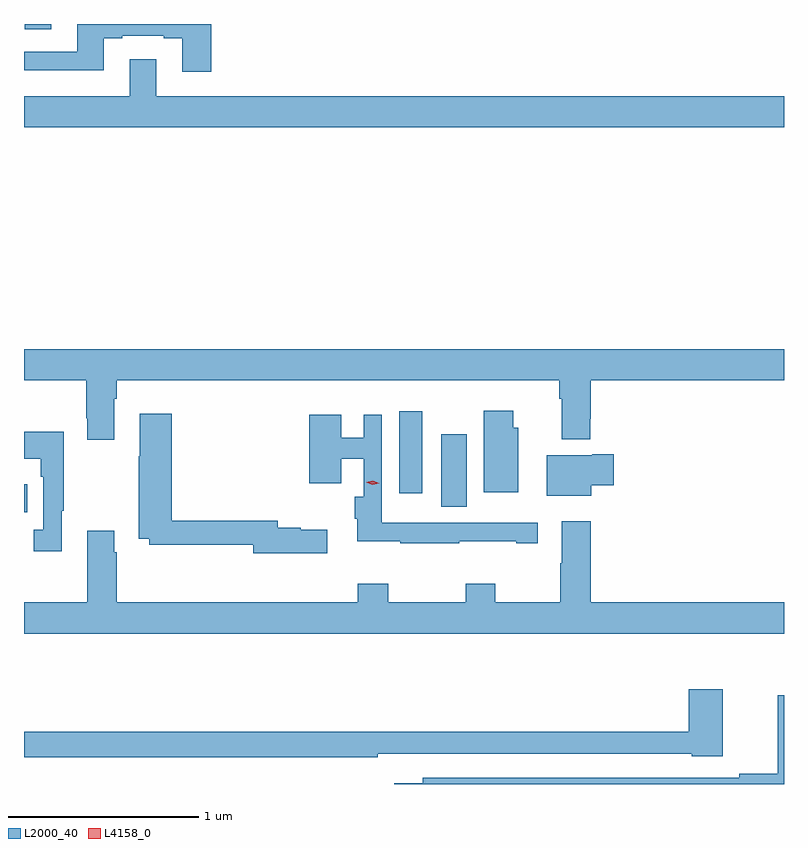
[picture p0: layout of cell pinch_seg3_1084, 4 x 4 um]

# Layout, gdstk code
import gdstk
lib = gdstk.Library(unit=1e-6, precision=1e-09)
def R(c, l, rs):  # rectangles x0, y0, x1, y1
    for r in rs: c.add(gdstk.rectangle(r[:2], r[2:], *l))
def P(c, l, *ps):  # polygons
    for p in ps: c.add(gdstk.Polygon(p, *l))
L2000_40 = (2000, 40)
L4158_0 = (4158, 0)

pinch_seg3_1084 = lib.new_cell('pinch_seg3_1084')
R(pinch_seg3_1084, L2000_40, [(144.739,682.906,144.755,683.053), (146.936,682.936,147.07,683.317), (146.714,683.007,146.836,683.437), (144.743,685.449,144.883,685.476)])
P(pinch_seg3_1084, L2000_40, [(145.724,685.476),(145.019,685.476),(145.019,685.329),(144.739,685.329),(144.739,685.232),(145.159,685.232),(145.159,685.401),(145.255,685.401),(145.255,685.413),(145.475,685.413),(145.475,685.401),(145.571,685.401),(145.571,685.224),(145.724,685.224)],
  [(148.739,685.096),(145.435,685.096),(145.435,685.291),(145.295,685.291),(145.295,685.096),(144.739,685.096),(144.739,684.932),(148.739,684.932)],
  [(145.213,683.504),(145.226,683.504),(145.226,683.6),(147.557,683.6),(147.557,683.504),(147.569,683.504),(147.569,683.291),(147.718,683.291),(147.718,683.398),(147.722,683.398),(147.722,683.6),(148.739,683.6),(148.739,683.764),(144.739,683.764),(144.739,683.6),(145.066,683.6),(145.066,683.401),(145.073,683.401),(145.073,683.289),(145.213,683.289)],
  [(147.34,683.352),(147.313,683.352),(147.313,683.44),(147.158,683.44),(147.158,683.012),(147.34,683.012)],
  [(146.335,682.813),(146.196,682.813),(146.196,682.826),(146.074,682.826),(146.074,682.862),(145.517,682.862),(145.517,683.425),(145.349,683.425),(145.349,683.201),(145.342,683.201),(145.342,682.766),(145.398,682.766),(145.398,682.734),(145.946,682.734),(145.946,682.691),(146.335,682.691)],
  [(147.029,682.753),(147.329,682.753),(147.329,682.743),(147.442,682.743),(147.442,682.852),(147.186,682.852),(147.186,682.851),(146.832,682.851),(146.832,682.852),(146.622,682.852),(146.622,683.419),(146.526,683.419),(146.526,683.299),(146.41,683.299),(146.41,683.419),(146.24,683.419),(146.24,683.058),(146.41,683.058),(146.41,683.189),(146.526,683.189),(146.526,682.987),(146.48,682.987),(146.48,682.871),(146.492,682.871),(146.492,682.753),(146.719,682.753),(146.719,682.743),(147.029,682.743)],
  [(144.937,682.913),(144.949,682.913),(144.949,683.329),(144.739,683.329),(144.739,683.189),(144.828,683.189),(144.828,683.093),(144.84,683.093),(144.84,682.814),(144.789,682.814),(144.789,682.701),(144.937,682.701)],
  [(147.724,683.048),(147.844,683.048),(147.844,683.211),(147.731,683.211),(147.731,683.206),(147.491,683.206),(147.491,682.994),(147.724,682.994)],
  [(148.739,682.432),(147.722,682.432),(147.722,682.858),(147.569,682.858),(147.569,682.637),(147.562,682.637),(147.562,682.432),(147.219,682.432),(147.219,682.531),(147.064,682.531),(147.064,682.432),(146.655,682.432),(146.655,682.531),(146.495,682.531),(146.495,682.432),(145.226,682.432),(145.226,682.697),(145.213,682.697),(145.213,682.81),(145.073,682.81),(145.073,682.432),(144.739,682.432),(144.739,682.268),(148.739,682.268)],
  [(146.6,681.636),(148.254,681.636),(148.254,681.623),(148.416,681.623),(148.416,681.976),(148.238,681.976),(148.238,681.752),(144.739,681.752),(144.739,681.616),(146.6,681.616)],
  [(148.739,681.943),(148.705,681.943),(148.705,681.53),(148.504,681.53),(148.504,681.51),(146.837,681.51),(146.837,681.481),(146.688,681.481),(146.688,681.476),(148.739,681.476)])
P(pinch_seg3_1084, L4158_0, [(146.573,683.052),(146.54,683.064),(146.539,683.064),(146.54,683.065),(146.575,683.071),(146.608,683.059),(146.608,683.058),(146.608,683.058)])

lib.write_gds('pinch_seg3_1084.gds')
